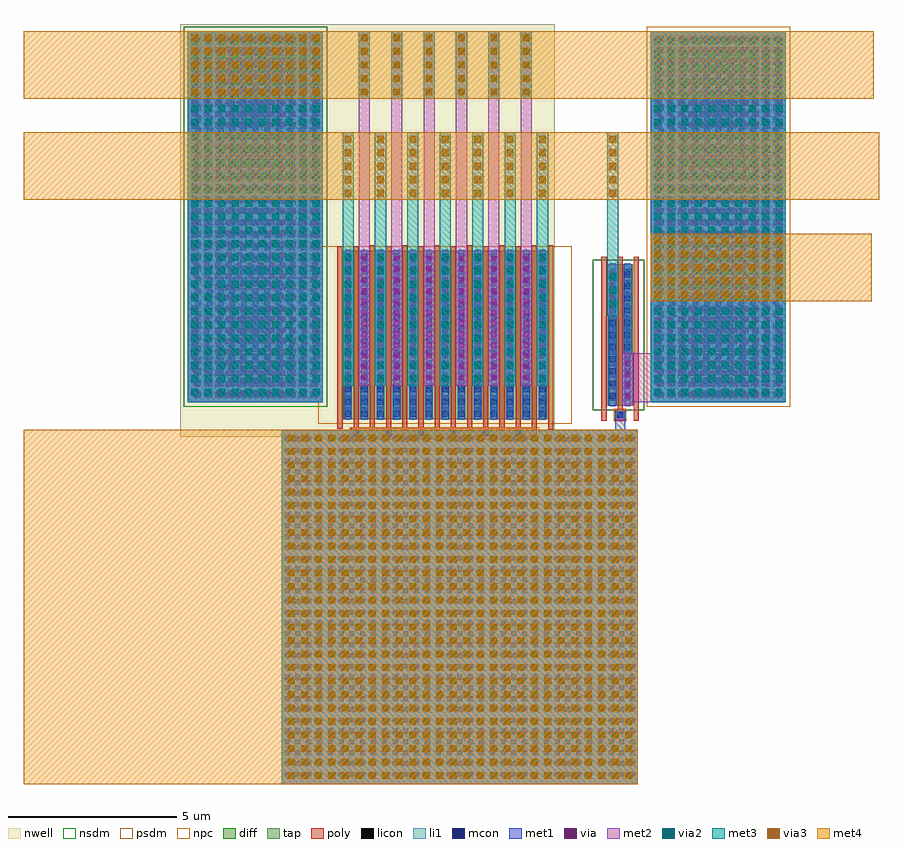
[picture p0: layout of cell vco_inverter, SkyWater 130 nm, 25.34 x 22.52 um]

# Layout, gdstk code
import gdstk
lib = gdstk.Library(unit=1e-6, precision=1e-09)
def R(c, l, rs):  # rectangles x0, y0, x1, y1
    for r in rs: c.add(gdstk.rectangle(r[:2], r[2:], *l))
def A(c, l, x, y, w, h, nx, ny, dx, dy):  # array of equal rectangles
    R(c, l, [(x+i*dx, y+j*dy, x+i*dx+w, y+j*dy+h) for i in range(nx) for j in range(ny)])
nwell = (64, 20)
diff = (65, 20)
tap = (65, 44)
poly = (66, 20)
licon = (66, 44)
li1 = (67, 20)
mcon = (67, 44)
met1 = (68, 20)
via = (68, 44)
met2 = (69, 20)
via2 = (69, 44)
met3 = (70, 20)
via3 = (70, 44)
met4 = (71, 20)
nsdm = (93, 44)
psdm = (94, 20)
npc = (95, 20)

vco_inverter = lib.new_cell('vco_inverter')
R(vco_inverter, nwell, [(-4.651,-0.018,6.445,12.211)])
R(vco_inverter, diff, [(0.18,0.5,6.23,5.5), (8.022,0.9,8.752,5.1)])
A(vco_inverter, poly, 1.36, -0.085, 0.33, 0.33, 5, 1, 0.96, 0)
A(vco_inverter, poly, 7.832, 0.79, 0.15, 4.53, 3, 1, 0.48, 0)
R(vco_inverter, poly, [(0.4,-0.085,5.92,0.245), (3.37,0.146,3.52,5.63), (5.29,0.164,5.44,5.63), (0.97,0.169,1.12,5.655), (3.85,0.193,4,5.655), (1.93,0.199,2.08,5.655), (5.77,0.202,5.92,5.655), (6.25,0.202,6.4,5.655), (2.89,0.21,3.04,5.655), (1.45,0.212,1.6,5.63), (0.01,0.219,0.16,5.63), (0.49,0.219,0.64,5.63), (4.33,0.219,4.48,5.63), (4.81,0.23,4.96,5.655), (2.41,0.237,2.56,5.63), (7.832,0.46,7.982,0.79), (8.222,0.46,8.552,0.79), (8.792,0.46,8.942,0.79)])
A(vco_inverter, licon, 0.48, -0.005, 0.17, 0.17, 6, 1, 0.96, 0)
A(vco_inverter, licon, 0.24, 0.705, 0.17, 0.17, 13, 14, 0.48, 0.34)
A(vco_inverter, licon, 8.082, 1.045, 0.17, 0.17, 1, 12, 0, 0.34)
A(vco_inverter, licon, 8.522, 1.045, 0.17, 0.17, 1, 12, 0, 0.34)
A(vco_inverter, licon, -4.203, 1.145, 0.17, 0.17, 11, 32, 0.34, 0.34)
A(vco_inverter, licon, 9.514, 1.145, 0.17, 0.17, 11, 32, 0.34, 0.34)
R(vco_inverter, licon, [(8.302,0.54,8.472,0.71)])
A(vco_inverter, li1, 0.4, -0.005, 0.33, 0.17, 6, 1, 0.96, 0)
A(vco_inverter, li1, 0.24, 0.48, 0.17, 5.04, 13, 1, 0.48, 0)
R(vco_inverter, li1, [(8.222,0.54,8.552,0.71), (8.082,0.88,8.252,5.12), (8.522,0.88,8.692,5.12)])
A(vco_inverter, mcon, 0.48, -0.005, 0.17, 0.17, 6, 1, 0.96, 0)
A(vco_inverter, mcon, 0.24, 0.575, 0.17, 0.17, 13, 14, 0.48, 0.36)
A(vco_inverter, mcon, 8.082, 1.115, 0.17, 0.17, 1, 11, 0, 0.36)
A(vco_inverter, mcon, 8.522, 1.115, 0.17, 0.17, 1, 11, 0, 0.36)
A(vco_inverter, mcon, -4.303, 1.195, 0.17, 0.17, 11, 30, 0.36, 0.36)
A(vco_inverter, mcon, 9.414, 1.195, 0.17, 0.17, 11, 30, 0.36, 0.36)
R(vco_inverter, mcon, [(8.302,0.54,8.472,0.71)])
A(vco_inverter, met1, 1.38, -0.035, 0.29, 0.23, 5, 1, 0.96, 0)
A(vco_inverter, met1, 0.21, 0.5, 0.23, 5, 13, 1, 0.48, 0)
R(vco_inverter, met1, [(-1.636,-10.305,8.913,0.195), (0.4,-0.035,5.92,0.195), (8.242,0.121,8.532,0.74), (8.052,0.9,8.282,5.1), (8.492,0.9,8.722,5.1)])
A(vco_inverter, via, -1.557, -10.09, 0.15, 0.15, 33, 32, 0.32, 0.32)
A(vco_inverter, via, 8.532, 1.12, 0.15, 0.15, 1, 4, 0, 0.32)
A(vco_inverter, via, -4.253, 1.145, 0.15, 0.15, 12, 34, 0.32, 0.32)
A(vco_inverter, via, 9.464, 1.145, 0.15, 0.15, 12, 34, 0.32, 0.32)
A(vco_inverter, via, 0.25, 1.665, 0.15, 0.15, 13, 12, 0.48, 0.32)
A(vco_inverter, via, 8.092, 3.77, 0.15, 0.15, 1, 4, 0, 0.32)
R(vco_inverter, met2, [(8.772,1,9.663,2.45)])
A(vco_inverter, via2, -1.462, -10.155, 0.2, 0.2, 26, 26, 0.4, 0.4)
A(vco_inverter, via2, -4.318, 1.2, 0.2, 0.2, 10, 27, 0.4, 0.4)
A(vco_inverter, via2, 9.399, 1.2, 0.2, 0.2, 10, 27, 0.4, 0.4)
A(vco_inverter, via2, 0.225, 1.6, 0.2, 0.2, 7, 10, 0.96, 0.4)
A(vco_inverter, via2, 8.067, 3.825, 0.2, 0.2, 1, 3, 0, 0.4)
A(vco_inverter, via2, 0.705, 10.1, 0.2, 0.2, 6, 5, 0.96, 0.4)
A(vco_inverter, via3, -1.462, -10.155, 0.2, 0.2, 26, 26, 0.4, 0.4)
A(vco_inverter, via3, 9.399, 4.1, 0.2, 0.2, 10, 5, 0.4, 0.4)
A(vco_inverter, via3, 0.225, 7.1, 0.2, 0.2, 7, 5, 0.96, 0.4)
A(vco_inverter, via3, 8.067, 7.1, 0.2, 0.2, 1, 5, 0, 0.4)
A(vco_inverter, via3, -4.318, 10.1, 0.2, 0.2, 10, 5, 0.4, 0.4)
A(vco_inverter, via3, 0.705, 10.1, 0.2, 0.2, 6, 5, 0.96, 0.4)
R(vco_inverter, nsdm, [(7.572,0.775,9.099,5.225)])
R(vco_inverter, psdm, [(-0.552,0.375,6.955,5.625)])
A(vco_inverter, npc, 1.34, -0.105, 0.37, 0.37, 5, 1, 0.96, 0)
R(vco_inverter, npc, [(0.38,-0.105,5.985,0.265), (8.202,0.44,8.572,0.81)])
vco_inverter.add(gdstk.FlexPath([(-4.543,6.5),(-0.293,6.5)], 11.25, ends="flush", simple_path=True, layer=93, datatype=44))  # nsdm
vco_inverter.add(gdstk.FlexPath([(9.299,6.5),(13.299,6.5)], 11, ends="flush", simple_path=True, layer=67, datatype=20))  # li1
vco_inverter.add(gdstk.FlexPath([(-4.418,6.5),(-0.418,6.5)], 11, ends="flush", simple_path=True, layer=67, datatype=20))  # li1
vco_inverter.add(gdstk.FlexPath([(3.638,0.195),(3.638,-10.305)], 10.549, ends="flush", simple_path=True, layer=68, datatype=20))  # met1
vco_inverter.add(gdstk.FlexPath([(0.325,5.5),(0.325,1.5)], 0.33, ends="flush", simple_path=True, layer=68, datatype=20))  # met1
vco_inverter.add(gdstk.FlexPath([(1.285,5.5),(1.285,1.5)], 0.33, ends="flush", simple_path=True, layer=68, datatype=20))  # met1
vco_inverter.add(gdstk.FlexPath([(2.245,5.5),(2.245,1.5)], 0.33, ends="flush", simple_path=True, layer=68, datatype=20))  # met1
vco_inverter.add(gdstk.FlexPath([(3.205,5.5),(3.205,1.5)], 0.33, ends="flush", simple_path=True, layer=68, datatype=20))  # met1
vco_inverter.add(gdstk.FlexPath([(4.165,5.5),(4.165,1.5)], 0.33, ends="flush", simple_path=True, layer=68, datatype=20))  # met1
vco_inverter.add(gdstk.FlexPath([(5.125,5.5),(5.125,1.5)], 0.33, ends="flush", simple_path=True, layer=68, datatype=20))  # met1
vco_inverter.add(gdstk.FlexPath([(6.085,5.5),(6.085,1.5)], 0.33, ends="flush", simple_path=True, layer=68, datatype=20))  # met1
vco_inverter.add(gdstk.FlexPath([(0.805,5.5),(0.805,1.5)], 0.33, ends="flush", simple_path=True, layer=68, datatype=20))  # met1
vco_inverter.add(gdstk.FlexPath([(1.765,5.5),(1.765,1.5)], 0.33, ends="flush", simple_path=True, layer=68, datatype=20))  # met1
vco_inverter.add(gdstk.FlexPath([(2.725,5.5),(2.725,1.5)], 0.33, ends="flush", simple_path=True, layer=68, datatype=20))  # met1
vco_inverter.add(gdstk.FlexPath([(3.685,5.5),(3.685,1.5)], 0.33, ends="flush", simple_path=True, layer=68, datatype=20))  # met1
vco_inverter.add(gdstk.FlexPath([(4.645,5.5),(4.645,1.5)], 0.33, ends="flush", simple_path=True, layer=68, datatype=20))  # met1
vco_inverter.add(gdstk.FlexPath([(5.605,5.5),(5.605,1.5)], 0.33, ends="flush", simple_path=True, layer=68, datatype=20))  # met1
vco_inverter.add(gdstk.FlexPath([(9.299,6.5),(13.299,6.5)], 11, ends="flush", simple_path=True, layer=68, datatype=20))  # met1
vco_inverter.add(gdstk.FlexPath([(-4.418,6.5),(-0.418,6.5)], 11, ends="flush", simple_path=True, layer=68, datatype=20))  # met1
vco_inverter.add(gdstk.FlexPath([(8.607,2.45),(8.607,0.9)], 0.33, ends="flush", simple_path=True, layer=68, datatype=20))  # met1
vco_inverter.add(gdstk.FlexPath([(8.167,5.1),(8.167,3.55)], 0.33, ends="flush", simple_path=True, layer=68, datatype=20))  # met1
vco_inverter.add(gdstk.FlexPath([(9.174,6.5),(13.424,6.5)], 11.25, ends="flush", simple_path=True, layer=94, datatype=20))  # psdm
vco_inverter.add(gdstk.FlexPath([(-9.279,8),(16.057,8)], 2, ends="flush", simple_path=True, layer=71, datatype=20))  # met4
vco_inverter.add(gdstk.FlexPath([(-9.279,11),(15.906,11)], 2, ends="flush", simple_path=True, layer=71, datatype=20))  # met4
vco_inverter.add(gdstk.FlexPath([(-9.279,-5.055),(8.913,-5.055)], 10.5, ends="flush", simple_path=True, layer=71, datatype=20))  # met4
vco_inverter.add(gdstk.FlexPath([(9.299,5),(15.842,5)], 2, ends="flush", simple_path=True, layer=71, datatype=20))  # met4
vco_inverter.add(gdstk.FlexPath([(3.638,0.195),(3.638,-10.305)], 10.549, ends="flush", simple_path=True, layer=71, datatype=20))  # met4
vco_inverter.add(gdstk.FlexPath([(0.325,9),(0.325,7)], 0.33, ends="flush", simple_path=True, layer=71, datatype=20))  # met4
vco_inverter.add(gdstk.FlexPath([(1.285,9),(1.285,7)], 0.33, ends="flush", simple_path=True, layer=71, datatype=20))  # met4
vco_inverter.add(gdstk.FlexPath([(2.245,9),(2.245,7)], 0.33, ends="flush", simple_path=True, layer=71, datatype=20))  # met4
vco_inverter.add(gdstk.FlexPath([(3.205,9),(3.205,7)], 0.33, ends="flush", simple_path=True, layer=71, datatype=20))  # met4
vco_inverter.add(gdstk.FlexPath([(4.165,9),(4.165,7)], 0.33, ends="flush", simple_path=True, layer=71, datatype=20))  # met4
vco_inverter.add(gdstk.FlexPath([(5.125,9),(5.125,7)], 0.33, ends="flush", simple_path=True, layer=71, datatype=20))  # met4
vco_inverter.add(gdstk.FlexPath([(0.805,12),(0.805,10)], 0.33, ends="flush", simple_path=True, layer=71, datatype=20))  # met4
vco_inverter.add(gdstk.FlexPath([(1.765,12),(1.765,10)], 0.33, ends="flush", simple_path=True, layer=71, datatype=20))  # met4
vco_inverter.add(gdstk.FlexPath([(2.725,12),(2.725,10)], 0.33, ends="flush", simple_path=True, layer=71, datatype=20))  # met4
vco_inverter.add(gdstk.FlexPath([(3.685,12),(3.685,10)], 0.33, ends="flush", simple_path=True, layer=71, datatype=20))  # met4
vco_inverter.add(gdstk.FlexPath([(4.645,12),(4.645,10)], 0.33, ends="flush", simple_path=True, layer=71, datatype=20))  # met4
vco_inverter.add(gdstk.FlexPath([(6.085,9),(6.085,7)], 0.33, ends="flush", simple_path=True, layer=71, datatype=20))  # met4
vco_inverter.add(gdstk.FlexPath([(8.167,9),(8.167,7)], 0.33, ends="flush", simple_path=True, layer=71, datatype=20))  # met4
vco_inverter.add(gdstk.FlexPath([(5.605,12),(5.605,10)], 0.33, ends="flush", simple_path=True, layer=71, datatype=20))  # met4
vco_inverter.add(gdstk.FlexPath([(-4.418,11),(-0.418,11)], 2, ends="flush", simple_path=True, layer=71, datatype=20))  # met4
vco_inverter.add(gdstk.FlexPath([(9.299,5),(13.299,5)], 2, ends="flush", simple_path=True, layer=71, datatype=20))  # met4
vco_inverter.add(gdstk.FlexPath([(0.805,5.5),(0.805,12)], 0.33, ends="flush", simple_path=True, layer=69, datatype=20))  # met2
vco_inverter.add(gdstk.FlexPath([(1.765,5.5),(1.765,12)], 0.33, ends="flush", simple_path=True, layer=69, datatype=20))  # met2
vco_inverter.add(gdstk.FlexPath([(2.725,5.5),(2.725,12)], 0.33, ends="flush", simple_path=True, layer=69, datatype=20))  # met2
vco_inverter.add(gdstk.FlexPath([(3.685,5.5),(3.685,12)], 0.33, ends="flush", simple_path=True, layer=69, datatype=20))  # met2
vco_inverter.add(gdstk.FlexPath([(4.645,5.5),(4.645,12)], 0.33, ends="flush", simple_path=True, layer=69, datatype=20))  # met2
vco_inverter.add(gdstk.FlexPath([(5.605,5.5),(5.605,12)], 0.33, ends="flush", simple_path=True, layer=69, datatype=20))  # met2
vco_inverter.add(gdstk.FlexPath([(3.638,0.195),(3.638,-10.305)], 10.549, ends="flush", simple_path=True, layer=69, datatype=20))  # met2
vco_inverter.add(gdstk.FlexPath([(0.325,5.5),(0.325,1.5)], 0.33, ends="flush", simple_path=True, layer=69, datatype=20))  # met2
vco_inverter.add(gdstk.FlexPath([(1.285,5.5),(1.285,1.5)], 0.33, ends="flush", simple_path=True, layer=69, datatype=20))  # met2
vco_inverter.add(gdstk.FlexPath([(2.245,5.5),(2.245,1.5)], 0.33, ends="flush", simple_path=True, layer=69, datatype=20))  # met2
vco_inverter.add(gdstk.FlexPath([(3.205,5.5),(3.205,1.5)], 0.33, ends="flush", simple_path=True, layer=69, datatype=20))  # met2
vco_inverter.add(gdstk.FlexPath([(4.165,5.5),(4.165,1.5)], 0.33, ends="flush", simple_path=True, layer=69, datatype=20))  # met2
vco_inverter.add(gdstk.FlexPath([(5.125,5.5),(5.125,1.5)], 0.33, ends="flush", simple_path=True, layer=69, datatype=20))  # met2
vco_inverter.add(gdstk.FlexPath([(6.085,5.5),(6.085,1.5)], 0.33, ends="flush", simple_path=True, layer=69, datatype=20))  # met2
vco_inverter.add(gdstk.FlexPath([(0.805,5.5),(0.805,1.5)], 0.33, ends="flush", simple_path=True, layer=69, datatype=20))  # met2
vco_inverter.add(gdstk.FlexPath([(0.805,12),(0.805,10)], 0.33, ends="flush", simple_path=True, layer=69, datatype=20))  # met2
vco_inverter.add(gdstk.FlexPath([(1.765,12),(1.765,10)], 0.33, ends="flush", simple_path=True, layer=69, datatype=20))  # met2
vco_inverter.add(gdstk.FlexPath([(2.725,12),(2.725,10)], 0.33, ends="flush", simple_path=True, layer=69, datatype=20))  # met2
vco_inverter.add(gdstk.FlexPath([(3.685,12),(3.685,10)], 0.33, ends="flush", simple_path=True, layer=69, datatype=20))  # met2
vco_inverter.add(gdstk.FlexPath([(4.645,12),(4.645,10)], 0.33, ends="flush", simple_path=True, layer=69, datatype=20))  # met2
vco_inverter.add(gdstk.FlexPath([(1.765,5.5),(1.765,1.5)], 0.33, ends="flush", simple_path=True, layer=69, datatype=20))  # met2
vco_inverter.add(gdstk.FlexPath([(2.725,5.5),(2.725,1.5)], 0.33, ends="flush", simple_path=True, layer=69, datatype=20))  # met2
vco_inverter.add(gdstk.FlexPath([(3.685,5.5),(3.685,1.5)], 0.33, ends="flush", simple_path=True, layer=69, datatype=20))  # met2
vco_inverter.add(gdstk.FlexPath([(4.645,5.5),(4.645,1.5)], 0.33, ends="flush", simple_path=True, layer=69, datatype=20))  # met2
vco_inverter.add(gdstk.FlexPath([(5.605,5.5),(5.605,1.5)], 0.33, ends="flush", simple_path=True, layer=69, datatype=20))  # met2
vco_inverter.add(gdstk.FlexPath([(5.605,12),(5.605,10)], 0.33, ends="flush", simple_path=True, layer=69, datatype=20))  # met2
vco_inverter.add(gdstk.FlexPath([(9.299,6.5),(13.299,6.5)], 11, ends="flush", simple_path=True, layer=69, datatype=20))  # met2
vco_inverter.add(gdstk.FlexPath([(-4.418,6.5),(-0.418,6.5)], 11, ends="flush", simple_path=True, layer=69, datatype=20))  # met2
vco_inverter.add(gdstk.FlexPath([(8.607,2.45),(8.607,0.9)], 0.33, ends="flush", simple_path=True, layer=69, datatype=20))  # met2
vco_inverter.add(gdstk.FlexPath([(8.167,5.1),(8.167,3.55)], 0.33, ends="flush", simple_path=True, layer=69, datatype=20))  # met2
vco_inverter.add(gdstk.FlexPath([(0.325,5.5),(0.325,9)], 0.33, ends="flush", simple_path=True, layer=70, datatype=20))  # met3
vco_inverter.add(gdstk.FlexPath([(1.285,5.5),(1.285,9)], 0.33, ends="flush", simple_path=True, layer=70, datatype=20))  # met3
vco_inverter.add(gdstk.FlexPath([(2.245,5.5),(2.245,9)], 0.33, ends="flush", simple_path=True, layer=70, datatype=20))  # met3
vco_inverter.add(gdstk.FlexPath([(3.205,5.5),(3.205,9)], 0.33, ends="flush", simple_path=True, layer=70, datatype=20))  # met3
vco_inverter.add(gdstk.FlexPath([(4.165,5.5),(4.165,9)], 0.33, ends="flush", simple_path=True, layer=70, datatype=20))  # met3
vco_inverter.add(gdstk.FlexPath([(5.125,5.5),(5.125,9)], 0.33, ends="flush", simple_path=True, layer=70, datatype=20))  # met3
vco_inverter.add(gdstk.FlexPath([(6.085,5.5),(6.085,9)], 0.33, ends="flush", simple_path=True, layer=70, datatype=20))  # met3
vco_inverter.add(gdstk.FlexPath([(8.167,4.891),(8.167,9)], 0.33, ends="flush", simple_path=True, layer=70, datatype=20))  # met3
vco_inverter.add(gdstk.FlexPath([(3.638,0.195),(3.638,-10.305)], 10.549, ends="flush", simple_path=True, layer=70, datatype=20))  # met3
vco_inverter.add(gdstk.FlexPath([(0.325,5.5),(0.325,1.5)], 0.33, ends="flush", simple_path=True, layer=70, datatype=20))  # met3
vco_inverter.add(gdstk.FlexPath([(0.325,9),(0.325,7)], 0.33, ends="flush", simple_path=True, layer=70, datatype=20))  # met3
vco_inverter.add(gdstk.FlexPath([(1.285,5.5),(1.285,1.5)], 0.33, ends="flush", simple_path=True, layer=70, datatype=20))  # met3
vco_inverter.add(gdstk.FlexPath([(2.245,5.5),(2.245,1.5)], 0.33, ends="flush", simple_path=True, layer=70, datatype=20))  # met3
vco_inverter.add(gdstk.FlexPath([(3.205,5.5),(3.205,1.5)], 0.33, ends="flush", simple_path=True, layer=70, datatype=20))  # met3
vco_inverter.add(gdstk.FlexPath([(4.165,5.5),(4.165,1.5)], 0.33, ends="flush", simple_path=True, layer=70, datatype=20))  # met3
vco_inverter.add(gdstk.FlexPath([(5.125,5.5),(5.125,1.5)], 0.33, ends="flush", simple_path=True, layer=70, datatype=20))  # met3
vco_inverter.add(gdstk.FlexPath([(6.085,5.5),(6.085,1.5)], 0.33, ends="flush", simple_path=True, layer=70, datatype=20))  # met3
vco_inverter.add(gdstk.FlexPath([(1.285,9),(1.285,7)], 0.33, ends="flush", simple_path=True, layer=70, datatype=20))  # met3
vco_inverter.add(gdstk.FlexPath([(2.245,9),(2.245,7)], 0.33, ends="flush", simple_path=True, layer=70, datatype=20))  # met3
vco_inverter.add(gdstk.FlexPath([(3.205,9),(3.205,7)], 0.33, ends="flush", simple_path=True, layer=70, datatype=20))  # met3
vco_inverter.add(gdstk.FlexPath([(4.165,9),(4.165,7)], 0.33, ends="flush", simple_path=True, layer=70, datatype=20))  # met3
vco_inverter.add(gdstk.FlexPath([(5.125,9),(5.125,7)], 0.33, ends="flush", simple_path=True, layer=70, datatype=20))  # met3
vco_inverter.add(gdstk.FlexPath([(0.805,12),(0.805,10)], 0.33, ends="flush", simple_path=True, layer=70, datatype=20))  # met3
vco_inverter.add(gdstk.FlexPath([(1.765,12),(1.765,10)], 0.33, ends="flush", simple_path=True, layer=70, datatype=20))  # met3
vco_inverter.add(gdstk.FlexPath([(2.725,12),(2.725,10)], 0.33, ends="flush", simple_path=True, layer=70, datatype=20))  # met3
vco_inverter.add(gdstk.FlexPath([(3.685,12),(3.685,10)], 0.33, ends="flush", simple_path=True, layer=70, datatype=20))  # met3
vco_inverter.add(gdstk.FlexPath([(4.645,12),(4.645,10)], 0.33, ends="flush", simple_path=True, layer=70, datatype=20))  # met3
vco_inverter.add(gdstk.FlexPath([(6.085,9),(6.085,7)], 0.33, ends="flush", simple_path=True, layer=70, datatype=20))  # met3
vco_inverter.add(gdstk.FlexPath([(8.167,9),(8.167,7)], 0.33, ends="flush", simple_path=True, layer=70, datatype=20))  # met3
vco_inverter.add(gdstk.FlexPath([(5.605,12),(5.605,10)], 0.33, ends="flush", simple_path=True, layer=70, datatype=20))  # met3
vco_inverter.add(gdstk.FlexPath([(9.299,6.5),(13.299,6.5)], 11, ends="flush", simple_path=True, layer=70, datatype=20))  # met3
vco_inverter.add(gdstk.FlexPath([(-4.418,11),(-0.418,11)], 2, ends="flush", simple_path=True, layer=70, datatype=20))  # met3
vco_inverter.add(gdstk.FlexPath([(9.299,5),(13.299,5)], 2, ends="flush", simple_path=True, layer=70, datatype=20))  # met3
vco_inverter.add(gdstk.FlexPath([(-4.418,6.5),(-0.418,6.5)], 11, ends="flush", simple_path=True, layer=70, datatype=20))  # met3
vco_inverter.add(gdstk.FlexPath([(8.167,5.1),(8.167,3.55)], 0.33, ends="flush", simple_path=True, layer=70, datatype=20))  # met3
vco_inverter.add(gdstk.FlexPath([(9.299,6.5),(13.299,6.5)], 11, ends="flush", simple_path=True, layer=65, datatype=44))  # tap
vco_inverter.add(gdstk.FlexPath([(-4.418,6.5),(-0.418,6.5)], 11, ends="flush", simple_path=True, layer=65, datatype=44))  # tap

lib.write_gds('vco_inverter.gds')
